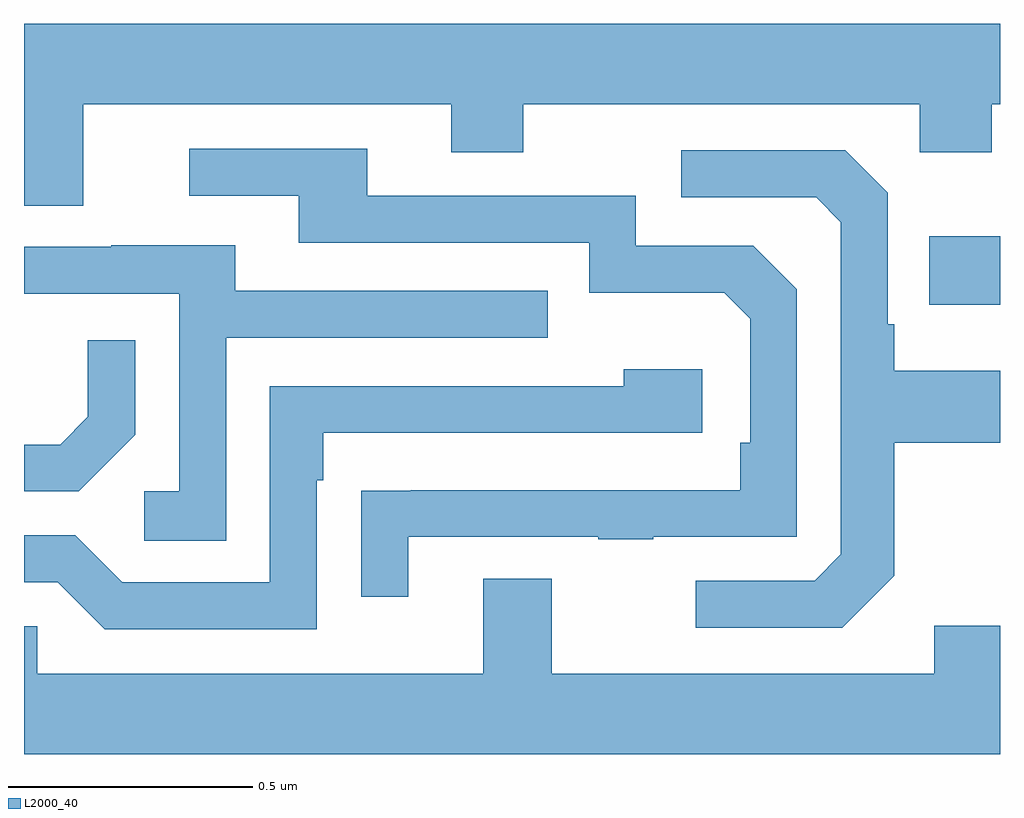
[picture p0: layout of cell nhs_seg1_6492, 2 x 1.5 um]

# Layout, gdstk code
import gdstk
lib = gdstk.Library(unit=1e-6, precision=1e-09)
def R(c, l, rs):  # rectangles x0, y0, x1, y1
    for r in rs: c.add(gdstk.rectangle(r[:2], r[2:], *l))
def P(c, l, *ps):  # polygons
    for p in ps: c.add(gdstk.Polygon(p, *l))
L2000_40 = (2000, 40)

nhs_seg1_6492 = lib.new_cell('nhs_seg1_6492')
R(nhs_seg1_6492, L2000_40, [(193.855,531.341,194,531.481)])
P(nhs_seg1_6492, L2000_40, [(192.121,531.752),(192.875,531.752),(192.875,531.653),(193.023,531.653),(193.023,531.752),(193.836,531.752),(193.836,531.653),(193.983,531.653),(193.983,531.752),(194,531.752),(194,531.916),(192,531.916),(192,531.544),(192.121,531.544)],
  [(192.787,530.865),(193.177,530.865),(193.177,530.86),(193.289,530.86),(193.289,530.865),(193.584,530.865),(193.584,531.372),(193.494,531.462),(193.254,531.462),(193.254,531.564),(192.703,531.564),(192.703,531.66),(192.339,531.66),(192.339,531.564),(192.563,531.564),(192.563,531.468),(193.158,531.468),(193.158,531.365),(193.435,531.365),(193.488,531.312),(193.488,531.058),(193.468,531.058),(193.468,530.961),(192.793,530.961),(192.793,530.96),(192.691,530.96),(192.691,530.742),(192.787,530.742)],
  [(193.783,530.785),(193.783,531.058),(194,531.058),(194,531.205),(193.783,531.205),(193.783,531.301),(193.77,531.301),(193.77,531.57),(193.683,531.657),(193.347,531.657),(193.347,531.561),(193.623,531.561),(193.674,531.51),(193.674,530.829),(193.62,530.775),(193.377,530.775),(193.377,530.679),(193.677,530.679)],
  [(192.414,531.273),(193.073,531.273),(193.073,531.369),(192.433,531.369),(192.433,531.463),(192.179,531.463),(192.179,531.459),(192,531.459),(192,531.363),(192.318,531.363),(192.318,530.958),(192.246,530.958),(192.246,530.857),(192.414,530.857)],
  [(192.228,531.074),(192.228,531.268),(192.131,531.268),(192.131,531.111),(192.074,531.054),(192,531.054),(192,530.958),(192.112,530.958)],
  [(192.6,530.981),(192.613,530.981),(192.613,531.078),(193.39,531.078),(193.39,531.208),(193.229,531.208),(193.229,531.174),(192.504,531.174),(192.504,530.772),(192.201,530.772),(192.105,530.868),(192,530.868),(192,530.772),(192.069,530.772),(192.165,530.676),(192.6,530.676)],
  [(194,530.683),(193.865,530.683),(193.865,530.584),(193.081,530.584),(193.081,530.779),(192.941,530.779),(192.941,530.584),(192.027,530.584),(192.027,530.682),(192,530.682),(192,530.42),(194,530.42)])

lib.write_gds('nhs_seg1_6492.gds')
